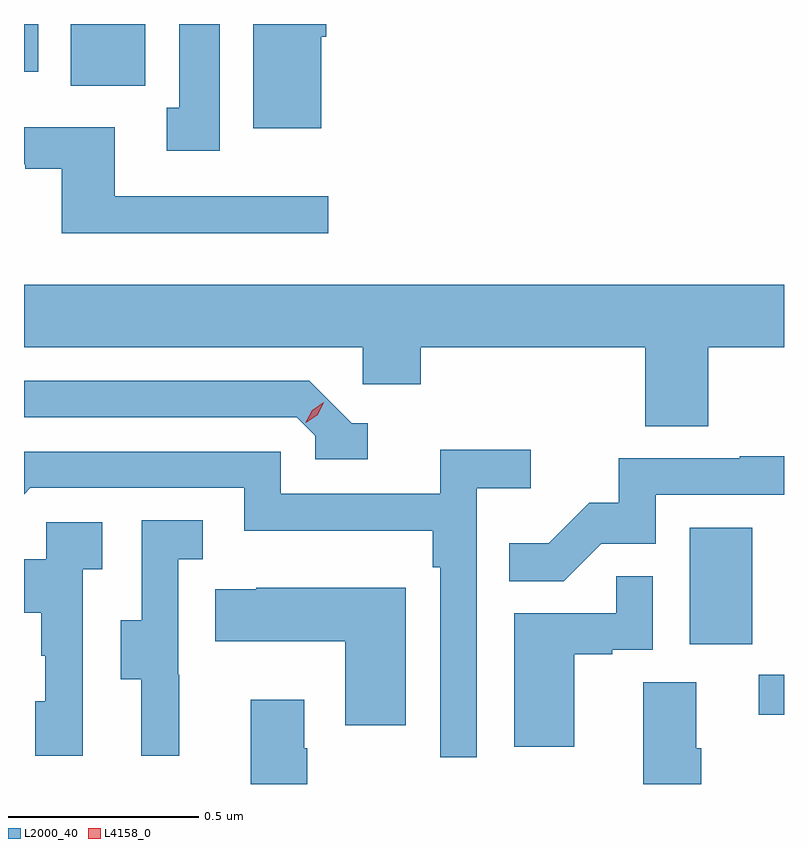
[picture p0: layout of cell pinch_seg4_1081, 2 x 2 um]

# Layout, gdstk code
import gdstk
lib = gdstk.Library(unit=1e-6, precision=1e-09)
def R(c, l, rs):  # rectangles x0, y0, x1, y1
    for r in rs: c.add(gdstk.rectangle(r[:2], r[2:], *l))
def P(c, l, *ps):  # polygons
    for p in ps: c.add(gdstk.Polygon(p, *l))
L2000_40 = (2000, 40)
L4158_0 = (4158, 0)

pinch_seg4_1081 = lib.new_cell('pinch_seg4_1081')
R(pinch_seg4_1081, L2000_40, [(835.539,763.884,835.606,763.989), (835.358,764.07,835.522,764.377), (833.729,765.54,833.925,765.702), (833.606,765.576,833.644,765.702)])
P(pinch_seg4_1081, L2000_40, [(834.388,765.668),(834.401,765.668),(834.401,765.702),(834.209,765.702),(834.209,765.428),(834.388,765.428)],
  [(834.121,765.702),(834.014,765.702),(834.014,765.481),(833.981,765.481),(833.981,765.369),(834.121,765.369)],
  [(834.406,765.249),(833.845,765.249),(833.845,765.43),(833.606,765.43),(833.606,765.333),(833.609,765.333),(833.609,765.321),(833.705,765.321),(833.705,765.152),(834.406,765.152)],
  [(833.606,764.852),(834.498,764.852),(834.498,764.754),(834.65,764.754),(834.65,764.852),(835.241,764.852),(835.241,764.644),(835.406,764.644),(835.406,764.852),(835.606,764.852),(835.606,765.016),(833.606,765.016)],
  [(834.511,764.652),(834.468,764.652),(834.357,764.763),(833.606,764.763),(833.606,764.667),(834.324,764.667),(834.372,764.619),(834.372,764.556),(834.511,764.556)],
  [(834.798,764.48),(834.94,764.48),(834.94,764.582),(834.701,764.582),(834.701,764.466),(834.282,764.466),(834.282,764.577),(833.606,764.577),(833.606,764.465),(833.622,764.481),(834.186,764.481),(834.186,764.369),(834.682,764.369),(834.682,764.273),(834.702,764.273),(834.702,763.773),(834.798,763.773)],
  [(835.125,764.334),(835.269,764.334),(835.269,764.463),(835.606,764.463),(835.606,764.564),(835.489,764.564),(835.489,764.559),(835.171,764.559),(835.171,764.442),(835.094,764.442),(834.987,764.335),(834.883,764.335),(834.883,764.236),(835.027,764.236)],
  [(834.014,763.989),(834.012,763.989),(834.012,764.293),(834.076,764.293),(834.076,764.396),(833.916,764.396),(833.916,764.133),(833.861,764.133),(833.861,763.978),(833.915,763.978),(833.915,763.776),(834.014,763.776)],
  [(833.76,764.267),(833.812,764.267),(833.812,764.391),(833.664,764.391),(833.664,764.293),(833.606,764.293),(833.606,764.153),(833.652,764.153),(833.652,764.039),(833.662,764.039),(833.662,763.92),(833.636,763.92),(833.636,763.776),(833.76,763.776)],
  [(835.054,764.043),(835.154,764.043),(835.154,764.055),(835.26,764.055),(835.26,764.249),(835.165,764.249),(835.165,764.151),(834.896,764.151),(834.896,763.8),(835.054,763.8)],
  [(834.61,764.218),(834.217,764.218),(834.217,764.215),(834.109,764.215),(834.109,764.078),(834.452,764.078),(834.452,763.857),(834.61,763.857)],
  [(835.388,763.796),(835.375,763.796),(835.375,763.97),(835.235,763.97),(835.235,763.702),(835.388,763.702)],
  [(834.351,763.796),(834.343,763.796),(834.343,763.924),(834.203,763.924),(834.203,763.702),(834.351,763.702)])
P(pinch_seg4_1081, L4158_0, [(834.347,764.653),(834.347,764.654),(834.364,764.686),(834.395,764.706),(834.395,764.706),(834.395,764.705),(834.378,764.673),(834.347,764.653)])

lib.write_gds('pinch_seg4_1081.gds')
